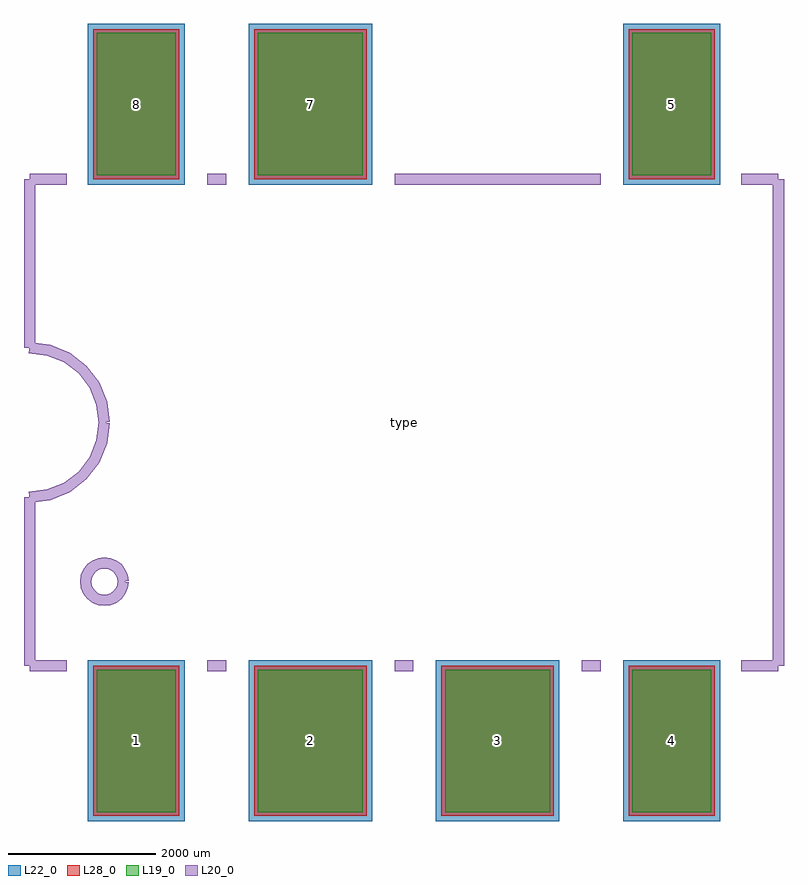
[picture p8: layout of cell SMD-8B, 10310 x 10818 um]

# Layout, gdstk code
import gdstk
lib = gdstk.Library(unit=1e-6, precision=1e-09)
def R(c, l, rs):  # rectangles x0, y0, x1, y1
    for r in rs: c.add(gdstk.rectangle(r[:2], r[2:], *l))
L19_0 = (19, 0)
L20_0 = (20, 0)
L22_0 = (22, 0)
L28_0 = (28, 0)

smd_8b = lib.new_cell('SMD-8B')
R(smd_8b, L19_0, [(-4166.4,-5284,-3098,-3352), (-1982,-5284,-558,-3352), (558,-5284,1982,-3352), (3098,-5284,4166.4,-3352), (-4166.4,3352,-3098,5284), (-1982,3352,-558,5284), (3098,3352,4166.4,5284)])
R(smd_8b, L22_0, [(-4291.4,-5409,-2973,-3227), (-2107,-5409,-433,-3227), (433,-5409,2107,-3227), (2973,-5409,4291.4,-3227), (-4291.4,3227,-2973,5409), (-2107,3227,-433,5409), (2973,3227,4291.4,5409)])
R(smd_8b, L28_0, [(-4216.4,-5334,-3048,-3302), (-2032,-5334,-508,-3302), (508,-5334,2032,-3302), (3048,-5334,4216.4,-3302), (-4216.4,3302,-3048,5334), (-2032,3302,-508,5334), (3048,3302,4216.4,5334)])
smd_8b.add(gdstk.FlexPath([(5080,3302),(5080,-3302)], 149.998, ends="flush", simple_path=True, layer=20, datatype=0))  # L20_0
smd_8b.add(gdstk.FlexPath([(-5080,3302),(-4572,3302)], 149.998, ends="flush", simple_path=True, layer=20, datatype=0))  # L20_0
smd_8b.add(gdstk.FlexPath([(-5080,-3302),(-4572,-3302)], 149.998, ends="flush", simple_path=True, layer=20, datatype=0))  # L20_0
smd_8b.add(gdstk.FlexPath([(5080,-3302),(4572,-3302)], 149.998, ends="flush", simple_path=True, layer=20, datatype=0))  # L20_0
smd_8b.add(gdstk.FlexPath([(5080,3302),(4572,3302)], 149.998, ends="flush", simple_path=True, layer=20, datatype=0))  # L20_0
smd_8b.add(gdstk.FlexPath([(-4064,0),(-4098.619,262.96),(-4200.118,508),(-4361.58,718.42),(-4572,879.882),(-4817.04,981.381),(-5080,1016)], 149.998, ends="flush", simple_path=True, layer=20, datatype=0))  # L20_0
smd_8b.add(gdstk.FlexPath([(-5080,-1016),(-4817.04,-981.381),(-4572,-879.882),(-4361.58,-718.42),(-4200.118,-508),(-4098.619,-262.96),(-4064,0)], 149.998, ends="flush", simple_path=True, layer=20, datatype=0))  # L20_0
smd_8b.add(gdstk.FlexPath([(-5080,3302),(-5080,1016)], 149.998, ends="flush", simple_path=True, layer=20, datatype=0))  # L20_0
smd_8b.add(gdstk.FlexPath([(-5080,-1016),(-5080,-3302)], 149.998, ends="flush", simple_path=True, layer=20, datatype=0))  # L20_0
smd_8b.add(gdstk.FlexPath([(-3810,-2159),(-3818.655,-2093.26),(-3844.03,-2032),(-3884.395,-1979.395),(-3937,-1939.03),(-3998.26,-1913.655),(-4064,-1905),(-4129.74,-1913.655),(-4191,-1939.03),(-4243.605,-1979.395),(-4283.97,-2032),(-4309.345,-2093.26),(-4318,-2159),(-4309.345,-2224.74),(-4283.97,-2286),(-4243.605,-2338.605),(-4191,-2378.97),(-4129.74,-2404.345),(-4064,-2413),(-3998.26,-2404.345),(-3937,-2378.97),(-3884.395,-2338.605),(-3844.03,-2286),(-3818.655,-2224.74),(-3810,-2159)], 149.998, ends="flush", simple_path=True, layer=20, datatype=0))  # L20_0
smd_8b.add(gdstk.FlexPath([(2413,3302),(2667,3302)], 149.998, ends="flush", simple_path=True, layer=20, datatype=0))  # L20_0
smd_8b.add(gdstk.FlexPath([(-127,3302),(127,3302)], 149.998, ends="flush", simple_path=True, layer=20, datatype=0))  # L20_0
smd_8b.add(gdstk.FlexPath([(-2667,3302),(-2413,3302)], 149.998, ends="flush", simple_path=True, layer=20, datatype=0))  # L20_0
smd_8b.add(gdstk.FlexPath([(-2667,-3302),(-2413,-3302)], 149.998, ends="flush", simple_path=True, layer=20, datatype=0))  # L20_0
smd_8b.add(gdstk.FlexPath([(-127,-3302),(127,-3302)], 149.998, ends="flush", simple_path=True, layer=20, datatype=0))  # L20_0
smd_8b.add(gdstk.FlexPath([(2413,-3302),(2667,-3302)], 149.998, ends="flush", simple_path=True, layer=20, datatype=0))  # L20_0
smd_8b.add(gdstk.FlexPath([(127,3302),(2413,3302)], 149.998, ends="flush", simple_path=True, layer=20, datatype=0))  # L20_0
smd_8b.add(gdstk.Label('8', (-3632.2,4318), layer=28, texttype=0))
smd_8b.add(gdstk.Label('7', (-1270,4318), layer=28, texttype=0))
smd_8b.add(gdstk.Label('5', (3632.2,4318), layer=28, texttype=0))
smd_8b.add(gdstk.Label('4', (3632.2,-4318), layer=28, texttype=0))
smd_8b.add(gdstk.Label('3', (1270,-4318), layer=28, texttype=0))
smd_8b.add(gdstk.Label('2', (-1270,-4318), layer=28, texttype=0))
smd_8b.add(gdstk.Label('1', (-3632.2,-4318), layer=28, texttype=0))
smd_8b.add(gdstk.Label('type', (0,0), layer=9, texttype=0))
smd_8b.add(gdstk.Label('devicename', (0,0), layer=9, texttype=0))

lib.write_gds('SMD-8B.gds')
